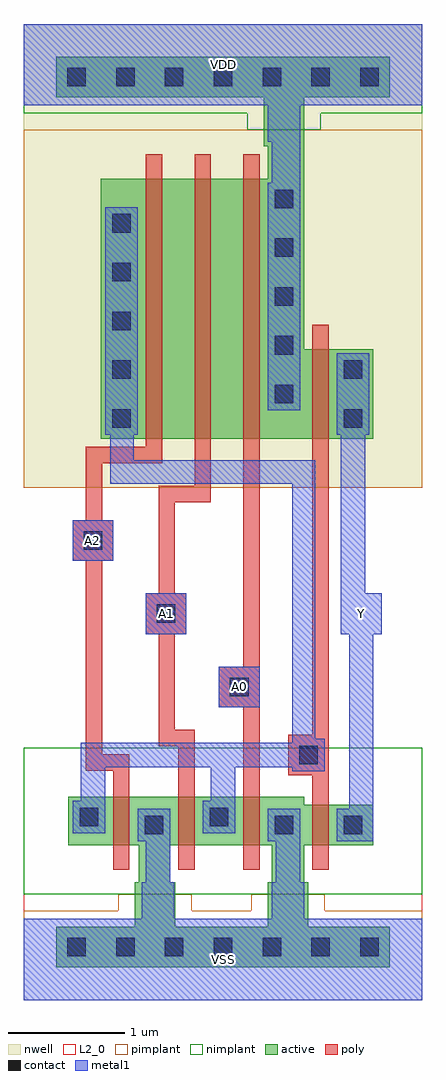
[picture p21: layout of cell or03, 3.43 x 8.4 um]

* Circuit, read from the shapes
.subckt or03 A0 A1 A2 VDD VSS Y
M1 VSS A2 n1 VSS nfet w=0.42u l=0.14u
M2 n1 A1 VSS VSS nfet w=0.42u l=0.14u
M3 VSS A0 n1 VSS nfet w=0.42u l=0.14u
M4 Y n1 VSS VSS nfet w=0.35u l=0.14u
M5 n2 A2 n1 VDD pfet w=2.24u l=0.14u
M6 n3 A1 n2 VDD pfet w=2.24u l=0.14u
M7 VDD A0 n3 VDD pfet w=2.24u l=0.14u
M8 Y n1 VDD VDD pfet w=0.77u l=0.14u
.ends

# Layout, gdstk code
from math import pi, radians
import gdstk
lib = gdstk.Library(unit=1e-6, precision=1e-09)
def R(c, l, rs):  # rectangles x0, y0, x1, y1
    for r in rs: c.add(gdstk.rectangle(r[:2], r[2:], *l))
def A(c, l, x, y, w, h, nx, ny, dx, dy):  # array of equal rectangles
    R(c, l, [(x+i*dx, y+j*dy, x+i*dx+w, y+j*dy+h) for i in range(nx) for j in range(ny)])
def P(c, l, *ps):  # polygons
    for p in ps: c.add(gdstk.Polygon(p, *l))
L2_0 = (2, 0)
nwell = (3, 0)
active = (6, 0)
poly = (17, 0)
pimplant = (25, 0)
nimplant = (26, 0)
contact = (30, 0)
metal1 = (31, 0)

adk_poly_m1 = lib.new_cell('ADK_poly_m1')
R(adk_poly_m1, poly, [(-0.175,-0.175,0.175,0.175)])
R(adk_poly_m1, contact, [(-0.08,-0.08,0.08,0.08)])
R(adk_poly_m1, metal1, [(-0.175,-0.175,0.175,0.175)])

or03 = lib.new_cell('or03')
R(or03, L2_0, [(0,0,3.43,2.17)])
R(or03, nwell, [(0,4.41,3.43,8.4)])
P(or03, nwell, [(3.43,4.41),(3.43,6.02),(2.835,6.02),(2.835,7.49),(0.245,7.49),(0.245,4.41)])
R(or03, active, [(0.28,0.28,3.15,0.63), (0.955,0.63,1.305,1.015), (2.1,0.63,2.45,1.015), (0.99,1.015,1.26,1.33), (2.135,1.015,2.415,1.33), (0.385,1.33,0.77,1.75), (2.625,1.33,3.01,1.68), (0.665,4.83,1.05,7.07), (2.625,4.83,3.01,5.6), (2.1,7.07,2.415,7.35), (2.065,7.35,2.415,7.77), (0.28,7.77,3.15,8.12)])
P(or03, active, [(3.01,4.83),(3.01,5.6),(2.415,5.6),(2.415,7.07),(0.665,7.07),(0.665,4.83)],
  [(3.01,1.33),(3.01,1.68),(2.415,1.68),(2.415,1.75),(0.385,1.75),(0.385,1.33)])
A(or03, poly, 0.77, 1.12, 0.14, 0.21, 3, 2, 0.56, 0.63)
A(or03, poly, 0.77, 1.33, 0.14, 0.42, 3, 1, 0.56, 0)
A(or03, poly, 1.05, 4.62, 0.14, 0.21, 3, 2, 0.42, 2.45)
A(or03, poly, 1.05, 4.83, 0.14, 2.24, 3, 1, 0.42, 0)
R(or03, poly, [(2.485,1.12,2.625,1.33), (2.485,1.33,2.625,1.68), (2.485,1.68,2.625,1.89), (2.485,1.855,2.625,4.655), (1.89,1.925,2.03,2.52), (2.275,1.935,2.625,2.285), (1.89,2.87,2.03,4.655), (2.485,4.62,2.625,4.83), (2.485,4.83,2.625,5.6), (2.485,5.6,2.625,5.81)])
P(or03, poly, [(1.16,2.185),(1.33,2.185),(1.33,1.82),(1.47,1.82),(1.47,2.325),(1.3,2.325),(1.3,4.285),(1.61,4.285),(1.61,4.76),(1.47,4.76),(1.47,4.425),(1.16,4.425)],
  [(0.535,1.975),(0.77,1.975),(0.77,1.82),(0.91,1.82),(0.91,2.115),(0.675,2.115),(0.675,4.62),(1.19,4.62),(1.19,4.76),(0.535,4.76)])
R(or03, pimplant, [(0,0,3.43,0.77), (0.815,0.77,1.445,0.91), (1.96,0.77,2.59,0.91), (0,4.41,3.43,7.49)])
R(or03, nimplant, [(0,0.91,3.43,2.17), (1.925,7.49,2.555,7.63), (0,7.63,3.43,8.4)])
A(or03, contact, 0.375, 0.375, 0.16, 0.16, 7, 2, 0.42, 7.49)
A(or03, contact, 0.76, 4.925, 0.16, 0.16, 1, 5, 0, 0.42)
A(or03, contact, 2.16, 5.135, 0.16, 0.16, 1, 5, 0, 0.42)
R(or03, contact, [(1.04,1.425,1.2,1.585), (2.16,1.425,2.32,1.585), (2.755,1.425,2.915,1.585), (0.48,1.495,0.64,1.655), (1.6,1.495,1.76,1.655), (2.37,2.03,2.53,2.19), (2.755,4.925,2.915,5.085), (2.755,5.345,2.915,5.505)])
R(or03, metal1, [(0,0,3.43,0.7), (1.015,0.7,1.295,1.015), (2.135,0.7,2.415,1.015), (1.05,1.015,1.26,1.365), (2.17,1.015,2.38,1.365), (0.98,1.365,1.26,1.645), (2.1,1.365,2.38,1.645), (2.695,1.365,2.975,1.645), (0.42,1.435,0.7,1.715), (1.54,1.435,1.82,1.715), (1.61,1.715,1.82,2.215), (2.31,1.97,2.59,2.25), (1.68,2.52,2.03,2.87), (1.05,3.15,1.4,3.5), (2.73,3.15,3.08,3.5), (2.73,3.15,3.08,3.5), (2.73,3.5,2.94,4.865), (0.42,3.78,0.77,4.13), (0.7,4.865,0.98,6.825), (2.695,4.865,2.975,5.565), (2.1,5.075,2.38,7.035), (2.135,7.035,2.38,7.385), (2.1,7.385,2.38,7.7), (0,7.7,3.43,8.4)])
P(or03, metal1, [(0.49,1.715),(0.7,1.715),(0.7,2.005),(2.31,2.005),(2.31,2.215),(0.49,2.215)],
  [(2.8,1.645),(2.94,1.645),(2.94,1.365),(3.01,1.365),(3.01,3.15),(2.8,3.15)],
  [(0.745,4.445),(2.31,4.445),(2.31,2.05),(2.51,2.05),(2.51,4.645),(0.945,4.645),(0.945,5.065),(0.745,5.065)])
or03.add(gdstk.Reference(adk_poly_m1, (1.225,3.325), rotation=pi, x_reflection=True))
or03.add(gdstk.Reference(adk_poly_m1, (1.855,2.695), rotation=pi, x_reflection=True))
or03.add(gdstk.Reference(adk_poly_m1, (0.595,3.955), rotation=pi, x_reflection=True))
or03.add(gdstk.Label('Y', (2.905,3.325), layer=131, texttype=0))
or03.add(gdstk.Label('A0', (1.855,2.695), layer=131, texttype=0))
or03.add(gdstk.Label('VSS', (1.715,0.35), layer=131, texttype=0))
or03.add(gdstk.Label('VDD', (1.715,8.05), layer=131, texttype=0))
or03.add(gdstk.Label('A1', (1.225,3.325), layer=131, texttype=0))
or03.add(gdstk.Label('A2', (0.595,3.955), layer=131, texttype=0))

lib.write_gds('or03.gds')
